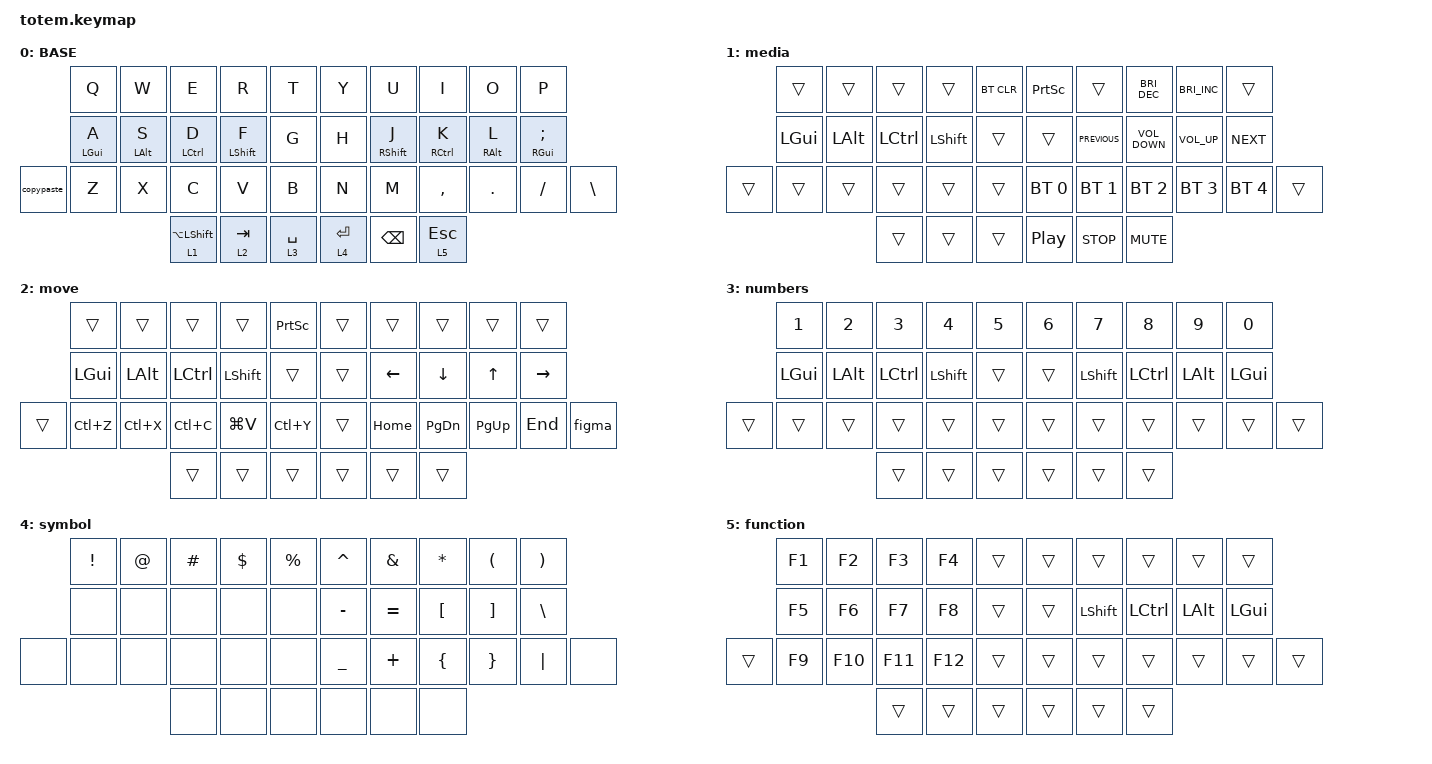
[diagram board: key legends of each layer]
//
//                                                        ▀▀▀▀▀     ▀▀▀▀▀          ▀▀█▀▀
//                                                        ▄▀▀▀▄  ▄  ▄▀▀▀▄  ▄  ▄▀▀▀▄  █  ▄▀▀▀▄
//                                                        █   █  █  █   █  █  █   █  █  █   █
//                                                         ▀▀▀   █   ▀▀▀   █   ▀▀▀   ▀   ▀▀▀
//                                                               █      ▄▄▄█▄▄▄    █   █  
//                                                               ▀      █  █  █     █▄█
//                                                             ▀▀▀▀▀    █  █  █      ▀
//                                                                      ▀  ▀  ▀
//
// ▄▄▄▄▄▄▄▄▄▄▄▄▄▄▄▄▄▄▄▄▄▄▄▄▄▄▄▄▄▄▄▄▄▄▄▄▄▄▄▄▄▄▄▄▄▄▄▄▄▄▄▄▄▄▄▄▄▄▄▄▄▄▄▄▄▄▄▄▄▄▄▄▄▄▄▄▄▄▄▄▄▄▄▄▄▄▄▄▄▄▄▄▄▄▄▄▄▄▄▄▄▄▄▄▄▄▄▄▄▄▄▄▄▄▄▄▄▄▄▄▄▄▄▄▄▄▄▄▄▄▄▄▄▄▄▄▄▄▄▄▄▄▄▄▄▄▄▄▄

#include <behaviors.dtsi>
#include <dt-bindings/zmk/bt.h>
#include <dt-bindings/zmk/keys.h>

#define BASE 0
#define NAV  1
#define SYM  2
#define ADJ  3
#define TVP1 4
#define TVP2 5

/ {
    combos { compatible = "zmk,combos"; };

    behaviors {
        mod_row: mod_row {
            compatible = "zmk,behavior-hold-tap";
            label = "MOD_ROW";
            bindings = <&kp>, <&kp>;

            #binding-cells = <2>;
            tapping-term-ms = <225>;
            quick-tap-ms = <165>;
            require-prior-idle-ms = <150>;
            flavor = "balanced";
            hold-trigger-on-release;
        };

        copypaste: copypaste {
            compatible = "zmk,behavior-tap-dance";
            label = "COPYPASTE";
            #binding-cells = <0>;
            bindings = <&kp LC(C)>, <&kp LG(V)>;
        };

        figma: figma {
            compatible = "zmk,behavior-tap-dance";
            label = "FIGMA";
            #binding-cells = <0>;
            bindings = <&kp RA(A)>, <&kp LA(D)>, <&kp LA(W)>, <&kp LA(S)>;
        };
    };

    keymap {
        compatible = "zmk,keymap";

        // ▄▄▄▄▄▄▄▄▄▄▄▄▄▄▄▄▄▄▄▄▄▄▄▄▄▄▄▄▄▄▄▄▄▄▄▄▄▄▄▄▄▄▄▄▄▄▄▄▄▄▄▄▄▄▄▄▄▄▄▄▄▄▄▄▄▄▄▄▄▄▄▄▄▄▄▄▄▄▄▄▄▄▄▄▄▄▄▄▄▄▄▄▄▄▄▄▄▄▄▄▄▄▄▄▄▄▄▄▄▄▄▄▄▄▄▄▄▄▄▄▄▄▄▄▄▄▄▄▄▄▄▄▄▄▄▄▄▄▄▄▄▄▄▄▄▄▄▄▄

        base_layer {
            // ┏━━━━━━━━━━━━━━━━━━━━━━━━━━━━━━━━━━━━━━━┓

            label = "BASE";

            // ┗━━━━━━━━━━━━━━━━━━━━━━━━━━━━━━━━━━━━━━━┛
            //             ┏━━━━━━━━━━━┳━━━━━━━━━━━┳━━━━━━━━━━━┳━━━━━━━━━━━┳━━━━━━━━━━━┓   ┏━━━━━━━━━━━┳━━━━━━━━━━━┳━━━━━━━━━━━┳━━━━━━━━━━━┳━━━━━━━━━━━┓
            //             ┃     Q     ┃     W     ┃     F     ┃     P     ┃     G     ┃   ┃     J     ┃     L     ┃     U     ┃     Y     ┃     ;     ┃
            //             ┣━━━━━━━━━━━╋━━━━━━━━━━━╋━━━━━━━━━━━╋━━━━━━━━━━━╋━━━━━━━━━━━┫   ┣━━━━━━━━━━━╋━━━━━━━━━━━╋━━━━━━━━━━━╋━━━━━━━━━━━╋━━━━━━━━━━━┫
            //             ┃     A     ┃     R     ┃     S     ┃     T     ┃     D     ┃   ┃     H     ┃     N     ┃     E     ┃     I     ┃     O     ┃
            // ┏━━━━━━━━━━━╋━━━━━━━━━━━╋━━━━━━━━━━━╋━━━━━━━━━━━╋━━━━━━━━━━━╋━━━━━━━━━━━┫   ┣━━━━━━━━━━━╋━━━━━━━━━━━╋━━━━━━━━━━━╋━━━━━━━━━━━╋━━━━━━━━━━━╋━━━━━━━━━━━┓
            // ┃     Q     ┃     Z     ┃     X     ┃     C     ┃     V     ┃     B     ┃   ┃     K     ┃     M     ┃     ,     ┃     .     ┃     /     ┃     \     ┃
            // ┗━━━━━━━━━━━┻━━━━━━━━━━━┻━━━━━━━━━━━╋━━━━━━━━━━━╋━━━━━━━━━━━╋━━━━━━━━━━━┫   ┣━━━━━━━━━━━╋━━━━━━━━━━━╋━━━━━━━━━━━╋━━━━━━━━━━━┻━━━━━━━━━━━┻━━━━━━━━━━━┛
            //                                     ┃    DEL    ┃    TAB    ┃    SPC    ┃   ┃   ENTER   ┃           ┃   BSPC    ┃
            //                                     ┗━━━━━━━━━━━┻━━━━━━━━━━━┻━━━━━━━━━━━┛   ┗━━━━━━━━━━━┻━━━━━━━━━━━┻━━━━━━━━━━━┛

            bindings = <
            &kp Q            &kp W            &kp E                 &kp R             &kp T          &kp Y        &kp U             &kp I             &kp O            &kp P
            &mod_row LGUI A  &mod_row LALT S  &mod_row LCTRL D      &mod_row LSHFT F  &kp G          &kp H        &mod_row RSHFT J  &mod_row RCTRL K  &mod_row RALT L  &mod_row RGUI SEMICOLON
&copypaste  &kp Z            &kp X            &kp C                 &kp V             &kp B          &kp N        &kp M             &kp COMMA         &kp DOT          &kp FSLH                 &kp BSLH
                                              &lt 1 LA(LEFT_SHIFT)  &lt 2 TAB         &lt 3 SPACE    &lt 4 ENTER  &kp BACKSPACE     &lt 5 ESCAPE
            >;
        };

        // ▄▄▄▄▄▄▄▄▄▄▄▄▄▄▄▄▄▄▄▄▄▄▄▄▄▄▄▄▄▄▄▄▄▄▄▄▄▄▄▄▄▄▄▄▄▄▄▄▄▄▄▄▄▄▄▄▄▄▄▄▄▄▄▄▄▄▄▄▄▄▄▄▄▄▄▄▄▄▄▄▄▄▄▄▄▄▄▄▄▄▄▄▄▄▄▄▄▄▄▄▄▄▄▄▄▄▄▄▄▄▄▄▄▄▄▄▄▄▄▄▄▄▄▄▄▄▄▄▄▄▄▄▄▄▄▄▄▄▄▄▄▄▄▄▄▄▄▄▄
        // ▄▄▄▄▄▄▄▄▄▄▄▄▄▄▄▄▄▄▄▄▄▄▄▄▄▄▄▄▄▄▄▄▄▄▄▄▄▄▄▄▄▄▄▄▄▄▄▄▄▄▄▄▄▄▄▄▄▄▄▄▄▄▄▄▄▄▄▄▄▄▄▄▄▄▄▄▄▄▄▄▄▄▄▄▄▄▄▄▄▄▄▄▄▄▄▄▄▄▄▄▄▄▄▄▄▄▄▄▄▄▄▄▄▄▄▄▄▄▄▄▄▄▄▄▄▄▄▄▄▄▄▄▄▄▄▄▄▄▄▄▄▄▄▄▄▄▄▄▄
        // ▄▄▄▄▄▄▄▄▄▄▄▄▄▄▄▄▄▄▄▄▄▄▄▄▄▄▄▄▄▄▄▄▄▄▄▄▄▄▄▄▄▄▄▄▄▄▄▄▄▄▄▄▄▄▄▄▄▄▄▄▄▄▄▄▄▄▄▄▄▄▄▄▄▄▄▄▄▄▄▄▄▄▄▄▄▄▄▄▄▄▄▄▄▄▄▄▄▄▄▄▄▄▄▄▄▄▄▄▄▄▄▄▄▄▄▄▄▄▄▄▄▄▄▄▄▄▄▄▄▄▄▄▄▄▄▄▄▄▄▄▄▄▄▄▄▄▄▄▄
        // ▄▄▄▄▄▄▄▄▄▄▄▄▄▄▄▄▄▄▄▄▄▄▄▄▄▄▄▄▄▄▄▄▄▄▄▄▄▄▄▄▄▄▄▄▄▄▄▄▄▄▄▄▄▄▄▄▄▄▄▄▄▄▄▄▄▄▄▄▄▄▄▄▄▄▄▄▄▄▄▄▄▄▄▄▄▄▄▄▄▄▄▄▄▄▄▄▄▄▄▄▄▄▄▄▄▄▄▄▄▄▄▄▄▄▄▄▄▄▄▄▄▄▄▄▄▄▄▄▄▄▄▄▄▄▄▄▄▄▄▄▄▄▄▄▄▄▄▄▄
        // ▄▄▄▄▄▄▄▄▄▄▄▄▄▄▄▄▄▄▄▄▄▄▄▄▄▄▄▄▄▄▄▄▄▄▄▄▄▄▄▄▄▄▄▄▄▄▄▄▄▄▄▄▄▄▄▄▄▄▄▄▄▄▄▄▄▄▄▄▄▄▄▄▄▄▄▄▄▄▄▄▄▄▄▄▄▄▄▄▄▄▄▄▄▄▄▄▄▄▄▄▄▄▄▄▄▄▄▄▄▄▄▄▄▄▄▄▄▄▄▄▄▄▄▄▄▄▄▄▄▄▄▄▄▄▄▄▄▄▄▄▄▄▄▄▄▄▄▄▄

        media {
            bindings = <
        &trans        &trans        &trans            &trans      &bt BT_CLR    &kp PRINTSCREEN   &trans          &kp C_BRIGHTNESS_DEC  &kp C_BRIGHTNESS_INC  &trans
        &kp LEFT_GUI  &kp LEFT_ALT  &kp LEFT_CONTROL  &kp LSHIFT  &trans        &trans            &kp C_PREVIOUS  &kp C_VOLUME_DOWN     &kp C_VOLUME_UP       &kp C_NEXT
&trans  &trans        &trans        &trans            &trans      &trans        &bt BT_SEL 0      &bt BT_SEL 1    &bt BT_SEL 2          &bt BT_SEL 3          &bt BT_SEL 4  &trans
                                    &trans            &trans      &trans        &kp C_PLAY_PAUSE  &kp C_STOP      &kp C_MUTE
            >;
        };

        move {
            bindings = <
        &trans        &trans        &trans            &trans      &kp PRINTSCREEN    &trans  &trans          &trans          &trans        &trans
        &kp LEFT_GUI  &kp LEFT_ALT  &kp LEFT_CONTROL  &kp LSHIFT  &trans             &trans  &kp LEFT_ARROW  &kp DOWN_ARROW  &kp UP_ARROW  &kp RIGHT_ARROW
&trans  &kp LC(Z)     &kp LC(X)     &kp LC(C)         &kp LG(V)   &kp LC(Y)          &trans  &kp HOME        &kp PAGE_DOWN   &kp PAGE_UP   &kp END          &figma
                                    &trans            &trans      &trans             &trans  &trans          &trans
            >;
        };

        numbers {
            bindings = <
        &kp N1    &kp N2    &kp N3     &kp N4     &kp N5    &kp N6  &kp N7     &kp N8     &kp N9    &kp N0
        &kp LGUI  &kp LALT  &kp LCTRL  &kp LSHFT  &trans    &trans  &kp LSHFT  &kp LCTRL  &kp LALT  &kp LGUI
&trans  &trans    &trans    &trans     &trans     &trans    &trans  &trans     &trans     &trans    &trans    &trans
                            &trans     &trans     &trans    &trans  &trans     &trans
            >;
        };

        symbol {
            bindings = <
       &kp EXCLAMATION  &kp AT_SIGN  &kp HASH  &kp DOLLAR  &kp PERCENT    &kp CARET       &kp AMPERSAND  &kp ASTERISK      &kp LEFT_PARENTHESIS  &kp RIGHT_PARENTHESIS
       &none            &none        &none     &none       &none          &kp MINUS       &kp EQUAL      &kp LEFT_BRACKET  &kp RIGHT_BRACKET     &kp BACKSLASH
&none  &none            &none        &none     &none       &none          &kp UNDERSCORE  &kp PLUS       &kp LEFT_BRACE    &kp RIGHT_BRACE       &kp PIPE               &none
                                     &none     &none       &none          &none           &none          &none
            >;
        };

        function {
            bindings = <
        &kp F1  &kp F2   &kp F3   &kp F4   &trans    &trans  &trans     &trans     &trans    &trans
        &kp F5  &kp F6   &kp F7   &kp F8   &trans    &trans  &kp LSHFT  &kp LCTRL  &kp LALT  &kp LGUI
&trans  &kp F9  &kp F10  &kp F11  &kp F12  &trans    &trans  &trans     &trans     &trans    &trans    &trans
                         &trans   &trans   &trans    &trans  &trans     &trans
            >;
        };
    };
};
